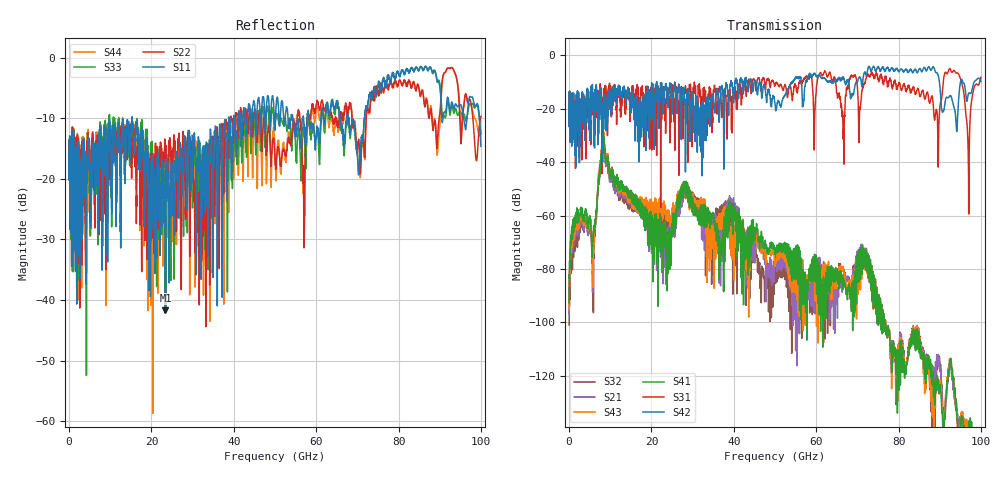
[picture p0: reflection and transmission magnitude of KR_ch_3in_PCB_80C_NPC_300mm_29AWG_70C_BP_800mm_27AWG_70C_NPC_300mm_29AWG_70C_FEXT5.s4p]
# GHz S RI R 45
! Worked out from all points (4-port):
!   4000 points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, 25 MHz to 100 GHz, reference 45 ohm
!   strongest paths, dB at 25 MHz, 25.02 GHz, 50.02 GHz, 75.03 GHz, 100 GHz:
!     S42: -20.0, -17.9, -18.0, -4.4, -9.7
!     S31: -20.0, -12.1, -11.1, -8.6, -8.3
!     S41: -92.7, -67.8, -73.5, -91.5, -163.3
!     S43: -95.3, -58.3, -78.6, -91.4, -178.2
!     S21: -96.9, -65.7, -72.7, -91.6, -170.6
!     S32: -101.1, -62.0, -79.0, -91.6, -180.1
!   lowest |S11| = -41.7 dB at 23.43 GHz (marker M1), VSWR 1.02, Z = 45.5 + j0.542 ohm
!   |S11| at or under -10 dB: start of sweep to 15.33 GHz; 15.35 GHz to 38.77 GHz (23.42 GHz wide, 86.5 % of centre); 67.96 GHz to 71.74 GHz (3.778 GHz wide, 5.41 % of centre)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
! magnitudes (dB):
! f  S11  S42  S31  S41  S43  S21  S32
! 25 MHz  -16.0  -20.0  -20.0  -92.7  -95.3  -96.9  -101.1
! 5.975 GHz  -15.3  -19.5  -21.3  -64.0  -71.6  -72.1  -74.4
! 8.275 GHz  -14.9  -18.2  -16.8  -31.4  -30.0  -33.0  -31.3
! 23.43 GHz  -41.7  -10.8  -23.9  -65.3  -57.3  -73.1  -60.6
! 92.58 GHz  -8.8  -15.1  -5.2  -115.3  -114.9  -117.1  -116.7
! 96.92 GHz  -7.7  -14.7  -36.9  -143.8  -143.5  -150.2  -158.7
! 100 GHz  -14.6  -9.7  -8.3  -163.3  -178.2  -170.6  -180.1
